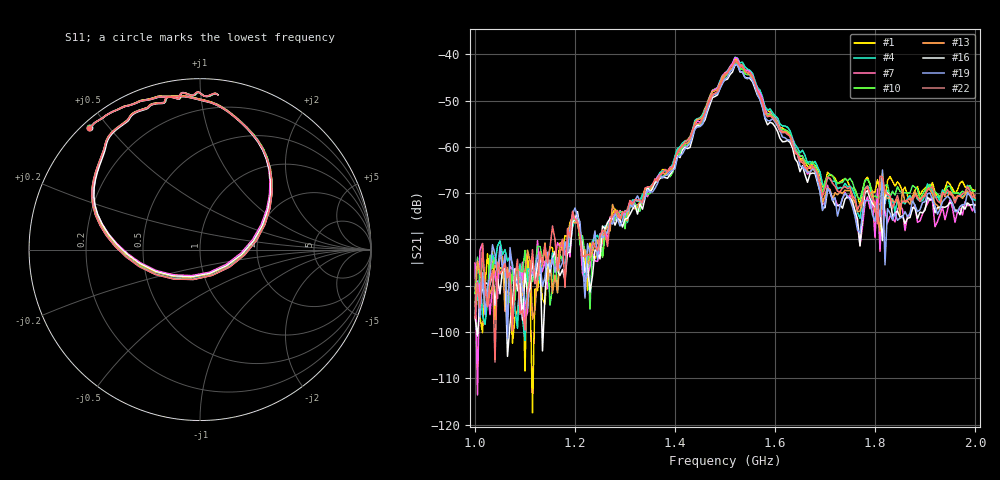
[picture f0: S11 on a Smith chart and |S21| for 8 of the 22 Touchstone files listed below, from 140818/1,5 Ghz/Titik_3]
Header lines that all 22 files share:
# Hz S RI R 50
! CMT, C1220, 16058040, 17.2.0/1
! Data: Format (Calibration Info)
! Freq  S11: Re/Im (F2)  S21: Re/Im (F2)  S12: Re/Im (F2)  S22: Re/Im (F2)
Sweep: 1 GHz to 2 GHz
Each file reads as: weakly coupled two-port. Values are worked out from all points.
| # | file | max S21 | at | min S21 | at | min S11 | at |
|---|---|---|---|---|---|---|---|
| 1 | Sudut_0_Titik_3.s2p | -41.09 dB | 1.52 GHz | -117.5 dB | 1.115 GHz | -15.6 dB | 1.53 GHz |
| 2 | Sudut_20_Titik_3.s2p | -40.51 dB | 1.52 GHz | -101.8 dB | 1.09 GHz | -15.7 dB | 1.53 GHz |
| 3 | Sudut_30_Titik_3.s2p | -40.55 dB | 1.52 GHz | -109.1 dB | 1.04 GHz | -15.8 dB | 1.53 GHz |
| 4 | Sudut_50_Titik_3.s2p | -40.64 dB | 1.52 GHz | -101.8 dB | 1.1 GHz | -16.2 dB | 1.53 GHz |
| 5 | Sudut_60_Titik_3.s2p | -40.45 dB | 1.52 GHz | -105.6 dB | 1.05 GHz | -16.4 dB | 1.53 GHz |
| 6 | Sudut_70_Titik_3.s2p | -40.59 dB | 1.52 GHz | -101.7 dB | 1.03 GHz | -16.6 dB | 1.53 GHz |
| 7 | Sudut_90_Titik_3.s2p | -40.77 dB | 1.52 GHz | -113.6 dB | 1.005 GHz | -16.9 dB | 1.53 GHz |
| 8 | Sudut_120_Titik_3.s2p | -41.55 dB | 1.52 GHz | -121.5 dB | 1.075 GHz | -16.1 dB | 1.53 GHz |
| 9 | Sudut_130_Titik_3.s2p | -41.91 dB | 1.52 GHz | -114.8 dB | 1.095 GHz | -15.9 dB | 1.53 GHz |
| 10 | Sudut_160_Titik_3.s2p | -41.80 dB | 1.52 GHz | -95.1 dB | 1.23 GHz | -15.7 dB | 1.53 GHz |
| 11 | Sudut_180_Titik_3.s2p | -41.49 dB | 1.52 GHz | -102.5 dB | 1.02 GHz | -15.8 dB | 1.53 GHz |
| 12 | Sudut_200_Titik_3.s2p | -41.37 dB | 1.52 GHz | -101.1 dB | 1.01 GHz | -16.0 dB | 1.53 GHz |
| 13 | Sudut_210_Titik_3.s2p | -41.46 dB | 1.52 GHz | -97.2 dB | 1.115 GHz | -16.2 dB | 1.53 GHz |
| 14 | Sudut_230_Titik_3.s2p | -41.77 dB | 1.525 GHz | -102.6 dB | 1.03 GHz | -16.6 dB | 1.53 GHz |
| 15 | Sudut_240_Titik_3.s2p | -41.99 dB | 1.525 GHz | -110.9 dB | 1.125 GHz | -16.7 dB | 1.53 GHz |
| 16 | Sudut_250_Titik_3.s2p | -42.26 dB | 1.525 GHz | -105.2 dB | 1.065 GHz | -16.5 dB | 1.53 GHz |
| 17 | Sudut_260_Titik_3.s2p | -42.43 dB | 1.525 GHz | -99.3 dB | 1.01 GHz | -16.3 dB | 1.53 GHz |
| 18 | Sudut_280_Titik_3.s2p | -42.54 dB | 1.525 GHz | -107.6 dB | 1.03 GHz | -15.9 dB | 1.53 GHz |
| 19 | Sudut_310_Titik_3.s2p | -42.15 dB | 1.52 GHz | -101.3 dB | 1.065 GHz | -15.6 dB | 1.53 GHz |
| 20 | Sudut_320_Titik_3.s2p | -41.83 dB | 1.52 GHz | -103.7 dB | 1.11 GHz | -15.6 dB | 1.53 GHz |
| 21 | Sudut_330_Titik_3.s2p | -41.68 dB | 1.52 GHz | -106.4 dB | 1.085 GHz | -15.5 dB | 1.53 GHz |
| 22 | Sudut_340_Titik_3.s2p | -41.41 dB | 1.52 GHz | -106.5 dB | 1.04 GHz | -15.5 dB | 1.53 GHz |
